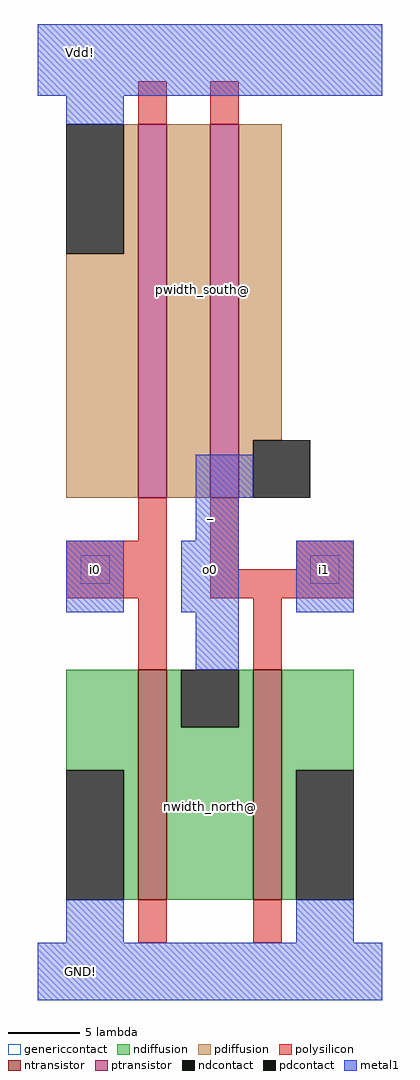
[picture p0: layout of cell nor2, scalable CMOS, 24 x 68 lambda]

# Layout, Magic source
magic
tech scmos
<< ntransistor >>
rect 5 4 7 20
rect 13 4 15 20
<< ptransistor >>
rect 5 32 7 58
rect 10 32 12 58
<< ndiffusion >>
rect 0 13 5 20
rect 4 4 5 13
rect 7 16 8 20
rect 12 16 13 20
rect 7 4 13 16
rect 15 13 20 20
rect 15 4 16 13
<< pdiffusion >>
rect 4 49 5 58
rect 0 32 5 49
rect 7 32 10 58
rect 12 36 15 58
rect 12 32 13 36
<< ndcontact >>
rect 0 4 4 13
rect 8 16 12 20
rect 16 4 20 13
<< pdcontact >>
rect 0 49 4 58
rect 13 32 17 36
<< polysilicon >>
rect 5 58 7 61
rect 10 58 12 61
rect 5 29 7 32
rect 0 25 7 29
rect 10 27 12 32
rect 16 27 20 29
rect 10 25 20 27
rect 5 20 7 25
rect 13 20 15 25
rect 5 1 7 4
rect 13 1 15 4
<< genericcontact >>
rect 1 26 3 28
rect 17 26 19 28
<< metal1 >>
rect -2 60 22 65
rect 0 58 4 60
rect 9 32 13 35
rect 9 29 12 32
rect 0 24 4 29
rect 8 24 12 29
rect 16 24 20 29
rect 9 20 12 24
rect 0 1 4 4
rect 16 1 20 4
rect -2 -3 22 1
<< labels >>
rlabel metal1 1 -1 1 -1 2 GND!
rlabel metal1 1 63 1 63 3 Vdd!
rlabel metal1 2 27 2 27 1 i0
rlabel metal1 18 27 18 27 1 i1
rlabel metal1 10 27 10 27 1 o0
rlabel space -2 -5 22 67 1 _
rlabel ndiffusion 4 4 16 17 1 nwidth_north@
rlabel pdiffusion 4 35 15 58 1 pwidth_south@
<< end >>
